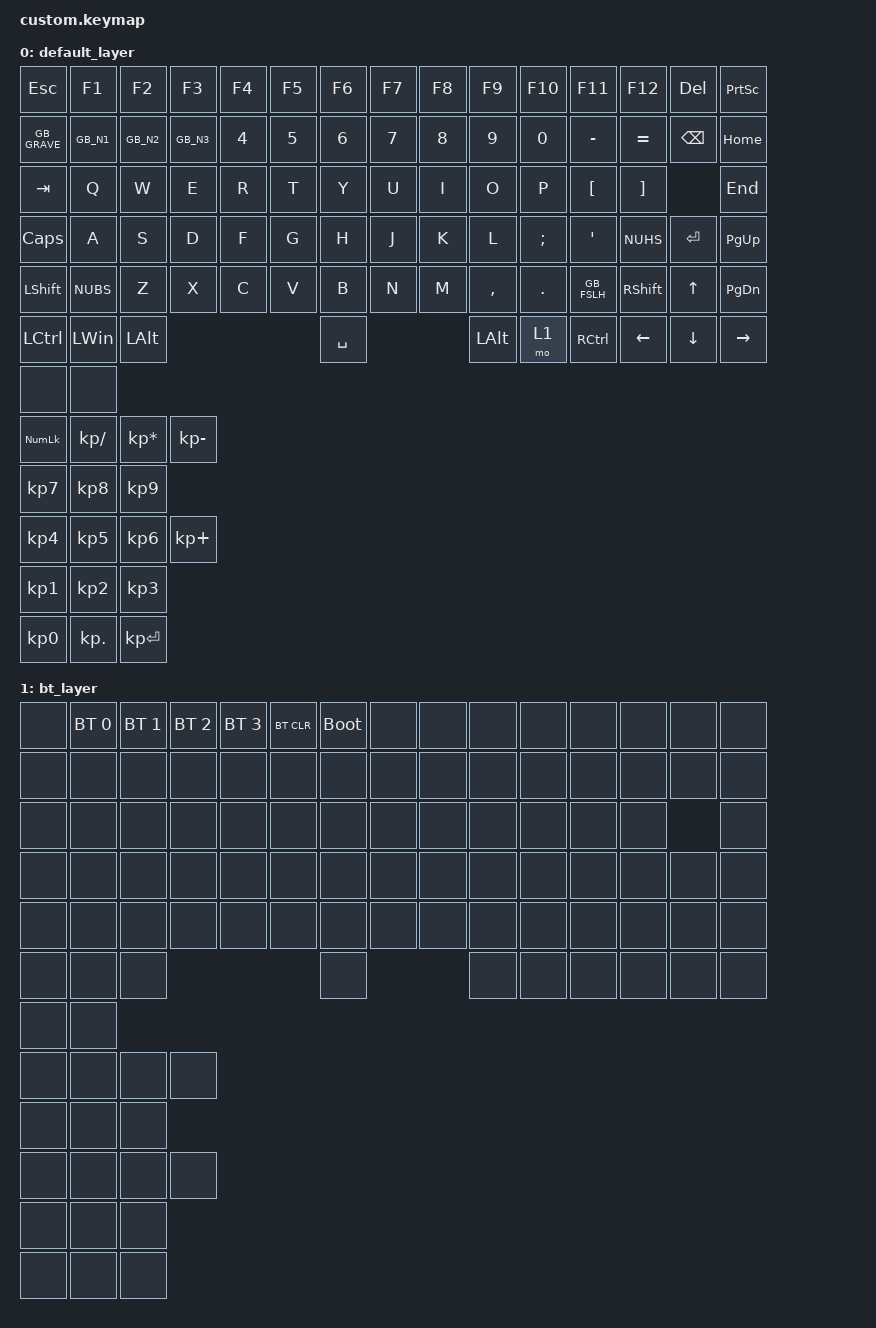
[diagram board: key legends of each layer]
#include <behaviors.dtsi>
#include <dt-bindings/zmk/keys.h>
#include <dt-bindings/zmk/bt.h>
#include <locale/keys_en_gb.h>

/ {
    keymap {
        compatible = "zmk,keymap";

        default_layer {

            bindings = <
                // ── Main keyboard (84 keys) ──────────────────────────────────────────────
                &kp ESC         &kp F1          &kp F2          &kp F3              &kp F4          &kp F5          &kp F6          &kp F7          &kp F8          &kp F9          &kp F10         &kp F11         &kp F12         &kp DEL         &kp PSCRN
                &kp GB_GRAVE    &kp GB_N1       &kp GB_N2       &kp GB_N3           &kp N4          &kp N5          &kp N6          &kp N7          &kp N8          &kp N9          &kp N0          &kp MINUS       &kp EQUAL       &kp BSPC        &kp HOME
                &kp TAB         &kp Q           &kp W           &kp E               &kp R           &kp T           &kp Y           &kp U           &kp I           &kp O           &kp P           &kp LBKT        &kp RBKT                        &kp END
                &kp CAPS        &kp A           &kp S           &kp D               &kp F           &kp G           &kp H           &kp J           &kp K           &kp L           &kp SEMI        &kp QUOT        &kp NUHS        &kp RET         &kp PG_UP
                &kp LSHFT       &kp NUBS        &kp Z           &kp X               &kp C           &kp V           &kp B           &kp N           &kp M           &kp COMMA       &kp DOT         &kp GB_FSLH     &kp RSHFT       &kp UP          &kp PG_DN
                &kp LCTRL       &kp LWIN        &kp LALT                                                            &kp SPACE                                       &kp LALT        &mo 1           &kp RCTRL       &kp LEFT        &kp DOWN        &kp RIGHT
                // ── Macropad (19 keys, positions 84–102) ────────────────────────────────
                &none           &none
                &kp KP_NUM      &kp KP_SLASH    &kp KP_ASTERISK &kp KP_MINUS
                &kp KP_N7       &kp KP_N8       &kp KP_N9
                &kp KP_N4       &kp KP_N5       &kp KP_N6       &kp KP_PLUS
                &kp KP_N1       &kp KP_N2       &kp KP_N3
                &kp KP_N0       &kp KP_DOT      &kp KP_ENTER
            >;
        };

        bt_layer {

            bindings = <
                // ── Main keyboard (84 keys) ──────────────────────────────────────────────
                &none   &bt BT_SEL 0    &bt BT_SEL 1    &bt BT_SEL 2    &bt BT_SEL 3    &bt BT_CLR      &bootloader     &none   &none   &none   &none   &none   &none   &none   &none
                &none   &none           &none           &none           &none           &none           &none           &none   &none   &none   &none   &none   &none   &none   &none
                &none   &none           &none           &none           &none           &none           &none           &none   &none   &none   &none   &none   &none           &none
                &none   &none           &none           &none           &none           &none           &none           &none   &none   &none   &none   &none   &none   &none   &none
                &none   &none           &none           &none           &none           &none           &none           &none   &none   &none   &none   &none   &none   &none   &none
                &none   &none           &none                                                           &none                           &none   &none   &none   &none   &none   &none
                // ── Macropad (19 keys, positions 84–102) ────────────────────────────────
                &none   &none
                &none   &none   &none   &none
                &none   &none   &none
                &none   &none   &none   &none
                &none   &none   &none
                &none   &none   &none
            >;
        };
    };
};
